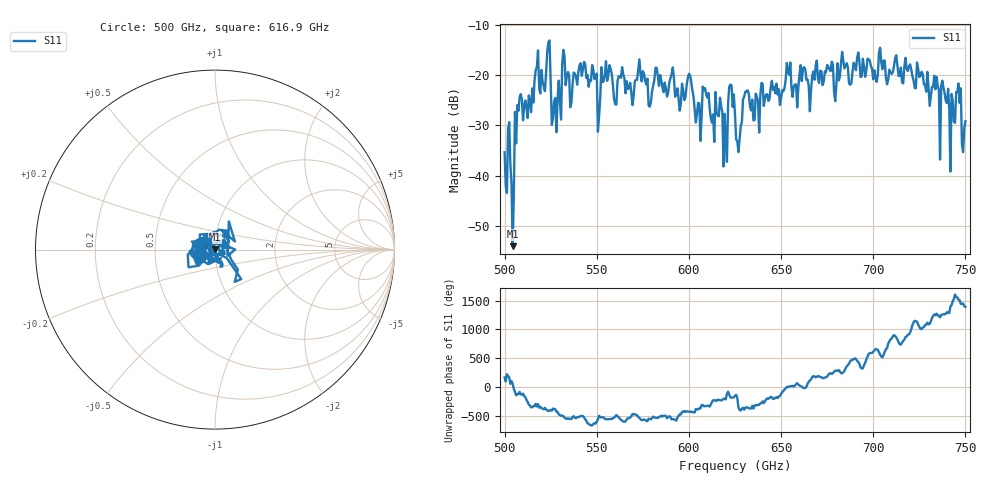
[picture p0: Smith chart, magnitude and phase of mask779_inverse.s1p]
!Created with skrf (http://scikit-rf.org).
# GHz S MA R 50.0
!freq magS11 angS11
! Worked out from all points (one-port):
!   401 points, 500 GHz to 750 GHz, reference 50 ohm
!   lowest |S11| = -53.9 dB at 504.4 GHz (marker M1), VSWR 1.00, Z = 50.1 + j0.167 ohm
!   |S11| at or under -10 dB: start of sweep to end of sweep
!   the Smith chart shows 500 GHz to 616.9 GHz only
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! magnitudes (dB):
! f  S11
! 500 GHz  -35.3
! 504.4 GHz  -53.9
! 508.1 GHz  -24.4
! 523.8 GHz  -13.5
! 526.9 GHz  -25.2
! 531.2 GHz  -17.9
! 548.8 GHz  -20.8
! 550.6 GHz  -31.2
! 553.8 GHz  -21.2
! 560 GHz  -25.8
! 562.5 GHz  -20.3
! 590.6 GHz  -19.8
! 593.8 GHz  -22.6
! 600.6 GHz  -20.0
! 605 GHz  -25.5
! 608.8 GHz  -22.6
! 619.4 GHz  -27.7
! 623.1 GHz  -22.1
! 625 GHz  -27.9
! 626.9 GHz  -35.3
! 630.6 GHz  -23.3
! 656.2 GHz  -24.3
! 687.5 GHz  -21.9
! 718.8 GHz  -19.2
! 738.1 GHz  -22.6
! 743.1 GHz  -25.1
! 746.2 GHz  -21.7
! 750 GHz  -29.1
